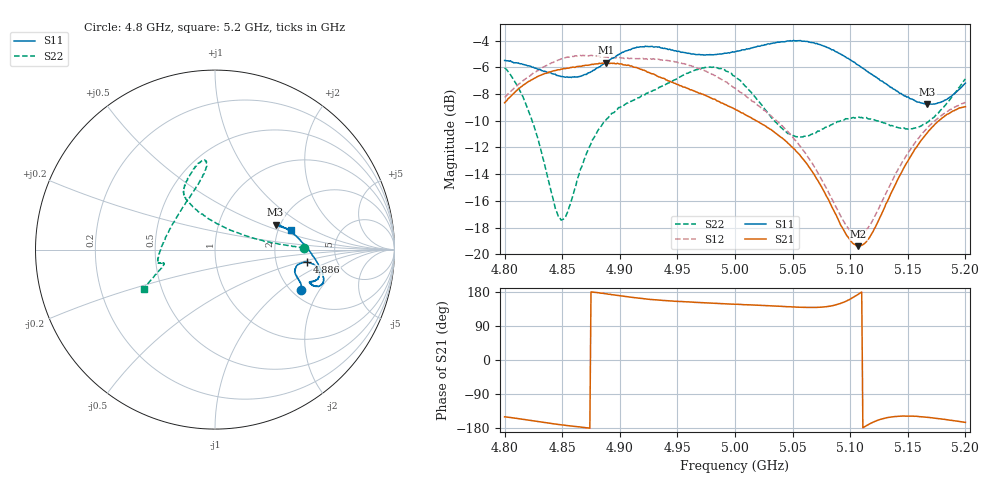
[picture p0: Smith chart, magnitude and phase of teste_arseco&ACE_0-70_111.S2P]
! Network Analyzer HP8722D
! Hewlett-Packard
! Data name: Linha & Wilkinson
! Saver's name: Rodrigo Anjos
! Comments: Teste da utilização de aquisição
! continua pelo VNA HP8722D
! Time and date: 8/5/2025 13:41
!  Frequency  S11  S21  S12  S22
# HZ  S  MA R 50
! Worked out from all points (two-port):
!   401 points, 4.8 GHz to 5.2 GHz, reference 50 ohm
!   highest |S21| = -5.67 dB at 4.888 GHz (marker M1); lowest = -19.4 dB at 5.107 GHz (marker M2)
!   |S21| within 3 dB of the highest: start of sweep to 4.988 GHz
!   lowest |S11| = -8.8 dB at 5.167 GHz (marker M3), VSWR 2.15, Z = 94.6 + j30.2 ohm
!   |S11| at or under -10 dB: nowhere
!   |S22| runs from -17.4 to -6.0 dB; largest |S21 - S12| = 1.1
!   S11 on the Smith chart (normalised r, x): 4.8 GHz: 2.23, -1.41; 4.886 GHz: 3.02, -0.56; 5.2 GHz: 2.34, +0.64
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4.8e9  0.5314 -25.3  0.369 -149.9  0.3866 9.5  0.4981 1.1
4.812e9  0.5197 -22.3  0.4156 -154.8  0.4331 7.8  0.4195 2.7
4.823e9  0.5046 -20.5  0.4489 -159.8  0.4694 6.5  0.3242 6.6
4.848e9  0.4642 -16.1  0.4903 -170.6  0.5356 2.2  0.137 56.9
4.854e9  0.4613 -14.6  0.4968 -173.0  0.5463 1.3  0.1419 81.6
4.867e9  0.4653 -11.1  0.5055 -177.5  0.5531 -0.6  0.213 111.2
4.886e9  0.5161 -7.6  0.518 175.6  0.5482 -1.9  0.3118 119.4
4.888e9  0.5229 -7.8  0.5207 174.6  0.5471 -1.9  0.3185 119.3
4.913e9  0.5912 -11.6  0.501 164.4  0.5396 -1.4  0.3794 117.2
4.934e9  0.5972 -16.2  0.4607 157.9  0.5366 -2.3  0.421 111.2
4.974e9  0.5562 -19.0  0.394 151.0  0.4853 -5.9  0.5005 98.1
5e9  0.5723 -19.8  0.3493 147.0  0.4185 -5.7  0.4626 96.0
5.044e9  0.6253 -18.0  0.2651 140.9  0.2929 2.4  0.2886 131.6
5.067e9  0.62 -13.8  0.2042 138.6  0.2193 9.1  0.2816 164.8
5.096e9  0.5477 -3.9  0.1198 154.5  0.1293 35.1  0.3218 -171.5
5.107e9  0.5104 1.6  0.1073 173.4  0.1179 56.3  0.3259 -168.0
5.118e9  0.4732 6.9  0.118 -167.0  0.1305 77.3  0.3208 -166.6
5.134e9  0.4257 14.6  0.1641 -151.1  0.1794 94.6  0.3044 -166.0
5.152e9  0.3821 20.8  0.2311 -148.0  0.2458 100.6  0.2947 -164.4
5.167e9  0.3646 22.3  0.2849 -151.1  0.2971 101.6  0.3122 -161.5
5.182e9  0.3775 20.4  0.3293 -156.7  0.3374 101.6  0.3593 -157.3
5.2e9  0.437 14.6  0.3568 -164.6  0.3705 102.0  0.453 -151.0
